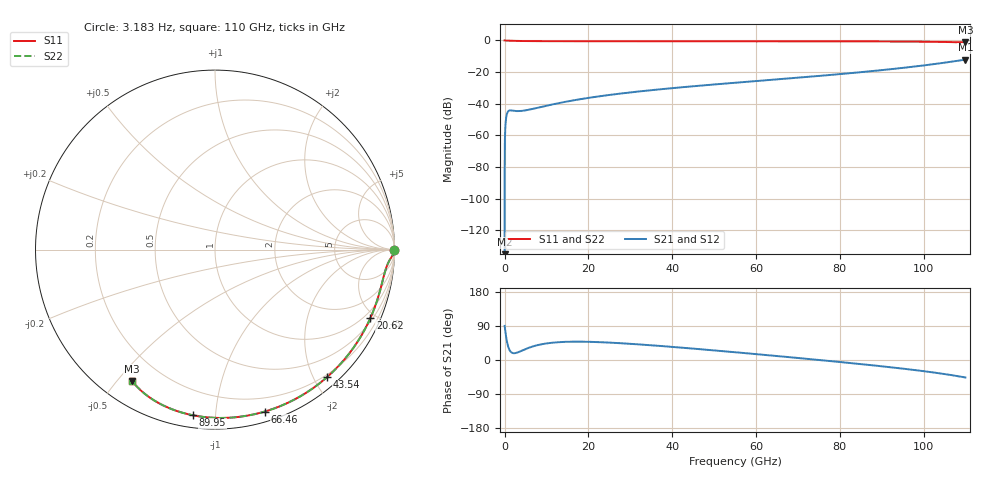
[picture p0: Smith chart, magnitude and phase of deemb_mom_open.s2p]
! Created Mon Apr 12 10:25:21 2010
# hz S ma R 50
! 2 Port Network Data from data block
! freq  magS11  angS11  magS21  angS21  magS12  angS12  magS22  angS22
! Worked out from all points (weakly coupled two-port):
!   211 points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, 3.183 Hz to 110 GHz, reference 50 ohm
!   highest |S21| = -12.09 dB at 110 GHz (marker M1); lowest = -189.0 dB at 31.83 Hz (marker M2)
!   lowest |S11| = -1.3 dB at 110 GHz (marker M3), VSWR 13.86, Z = 4.69 - j27.4 ohm
!   |S11| at or under -10 dB: nowhere
!   |S22| runs from -1.3 to 0.0 dB; largest |S21 - S12| = 0
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3.18287  1 -0.0  3.533e-11 90.0  3.533e-11 90.0  1 -0.0
31.8287  1 -0.0  3.533e-10 90.0  3.533e-10 90.0  1 -0.0
3182870  1 -0.0  3.533e-05 89.7  3.533e-05 89.7  1 -0.0
3.18287e7  1 -0.1  0.000353 87.3  0.000353 87.3  1 -0.1
6.365741e7  0.9998 -0.2  0.0007038 84.6  0.0007038 84.6  0.9998 -0.2
1.273148e8  0.9994 -0.4  0.001391 79.2  0.001391 79.2  0.9994 -0.4
2.228009e8  0.9985 -0.7  0.002356 71.4  0.002356 71.4  0.9985 -0.7
3.501157e8  0.9967 -1.0  0.003469 61.9  0.003469 61.9  0.9967 -1.0
5.092593e8  0.994 -1.4  0.004532 51.6  0.004532 51.6  0.994 -1.4
9.469039e8  0.9862 -2.2  0.005923 32.3  0.005923 32.3  0.9861 -2.2
4.965278e9  0.9568 -6.8  0.006178 28.7  0.006178 28.7  0.9568 -6.8
1.947917e10  0.9461 -22.5  0.01495 48.2  0.01495 48.2  0.9461 -22.5
2.0625e10  0.946 -23.7  0.01576 47.9  0.01576 47.9  0.946 -23.7
3.666667e10  0.9458 -41.3  0.02825 37.5  0.02825 37.5  0.9458 -41.3
4.354167e10  0.9458 -48.8  0.03434 31.4  0.03434 31.4  0.9458 -48.7
5.614583e10  0.9454 -62.2  0.04741 19.4  0.04741 19.4  0.9454 -62.1
6.645833e10  0.944 -72.9  0.06104 9.0  0.06104 9.0  0.944 -72.9
7.390625e10  0.9419 -80.6  0.07356 1.3  0.07356 1.3  0.9419 -80.6
8.994792e10  0.9312 -97.5  0.1151 -16.5  0.1151 -16.5  0.9312 -97.5
9.166667e10  0.9292 -99.4  0.1215 -18.5  0.1215 -18.5  0.9291 -99.4
1.016927e11  0.9087 -111.0  0.1732 -31.9  0.1732 -31.9  0.9086 -111.0
1.1e11  0.8654 -122.3  0.2487 -46.2  0.2487 -46.2  0.8654 -122.3
